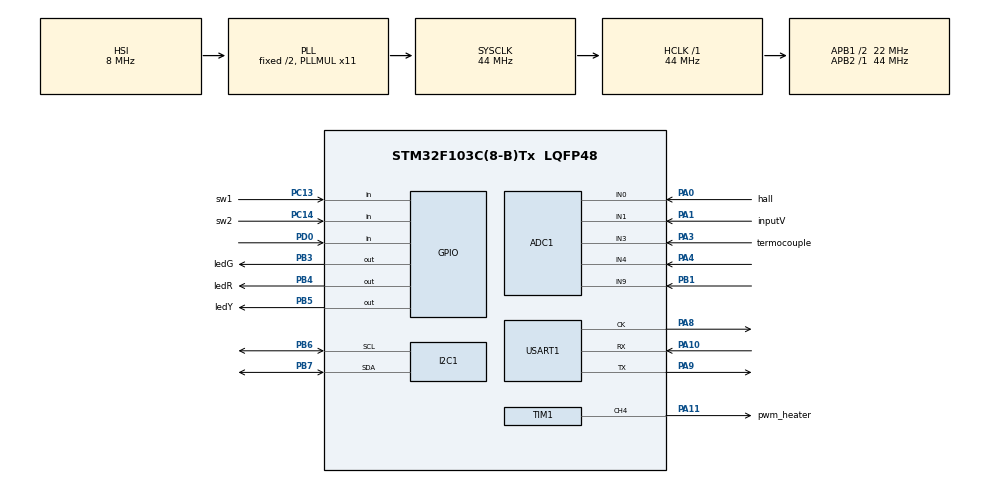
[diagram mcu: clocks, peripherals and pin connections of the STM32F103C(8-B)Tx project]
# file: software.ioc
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ADC1.Channel-12\#ChannelRegularConversion=ADC_CHANNEL_0
ADC1.NbrOfConversionFlag=1
ADC1.Rank-12\#ChannelRegularConversion=1
ADC1.SamplingTime-12\#ChannelRegularConversion=ADC_SAMPLETIME_1CYCLE_5
ADC1.master=1
I2C1.I2C_Mode=I2C_Fast
Mcu.Family=STM32F1
Mcu.Name=STM32F103C(8-B)Tx
Mcu.Package=LQFP48
NVIC.PriorityGroup=NVIC_PRIORITYGROUP_4
PA0-WKUP.GPIO_Label=hall
PA0-WKUP.Signal=ADCx_IN0
PA1.GPIO_Label=inputV
PA1.Signal=ADCx_IN1
PA10.Mode=Synchronous
PA10.Signal=USART1_RX
PA11.GPIO_Label=pwm_heater
PA11.GPIO_Speed=GPIO_SPEED_FREQ_MEDIUM
PA11.Signal=S_TIM1_CH4
PA13.Mode=Serial_Wire
PA13.Signal=SYS_JTMS-SWDIO
PA14.Mode=Serial_Wire
PA14.Signal=SYS_JTCK-SWCLK
PA3.GPIO_Label=termocouple
PA3.Signal=ADCx_IN3
PA4.Signal=ADCx_IN4
PA8.Mode=Synchronous
PA8.Signal=USART1_CK
PA9.Mode=Synchronous
PA9.Signal=USART1_TX
PB1.Signal=ADCx_IN9
PB3.GPIO_Label=ledG
PB3.GPIO_PuPd=GPIO_NOPULL
PB3.Signal=GPIO_Output
PB4.GPIO_Label=ledR
PB4.Signal=GPIO_Output
PB5.GPIO_Label=ledY
PB5.Signal=GPIO_Output
PB6.Mode=I2C
PB6.Signal=I2C1_SCL
PB7.Mode=I2C
PB7.Signal=I2C1_SDA
PC13-TAMPER-RTC.GPIO_Label=sw1
PC13-TAMPER-RTC.GPIO_PuPd=GPIO_PULLUP
PC13-TAMPER-RTC.Signal=GPIO_Input
PC14-OSC32_IN.GPIO_Label=sw2
PC14-OSC32_IN.GPIO_PuPd=GPIO_PULLUP
PC14-OSC32_IN.Signal=GPIO_Input
PD0-OSC_IN.GPIO_Label=weller_connnected?
PD0-OSC_IN.Signal=GPIO_Input
ProjectManager.HeapSize=0x200
ProjectManager.StackSize=0x400
ProjectManager.TargetToolchain=STM32CubeIDE
RCC.ADCPresc=RCC_ADCPCLK2_DIV4
RCC.AHBFreq_Value=44000000
RCC.APB1CLKDivider=RCC_HCLK_DIV2
RCC.APB1Freq_Value=22000000
RCC.APB1TimFreq_Value=44000000
RCC.APB2Freq_Value=44000000
RCC.APB2TimFreq_Value=44000000
RCC.HCLKFreq_Value=44000000
RCC.PLLMUL=RCC_PLL_MUL11
RCC.SYSCLKFreq_VALUE=44000000
RCC.SYSCLKSource=RCC_SYSCLKSOURCE_PLLCLK
RCC.USBFreq_Value=44000000
SH.ADCx_IN0.0=ADC1_IN0,IN0
SH.ADCx_IN1.0=ADC1_IN1,IN1
SH.ADCx_IN3.0=ADC1_IN3,IN3
SH.ADCx_IN4.0=ADC1_IN4,IN4
SH.ADCx_IN9.0=ADC1_IN9,IN9
SH.S_TIM1_CH4.0=TIM1_CH4,PWM Generation4 CH4
TIM1.Channel-PWM\ Generation4\ CH4=TIM_CHANNEL_4
USART1.VirtualMode=VM_SYNC
VP_TIM1_VS_ClockSourceINT.Mode=Internal
board=custom

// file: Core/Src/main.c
/* USER CODE BEGIN Header */
/**
  ******************************************************************************
  * @file           : main.c
  * @brief          : Main program body
  ******************************************************************************
  * @attention
  *
  * <h2><center>&copy; Copyright (c) 2020 STMicroelectronics.
  * All rights reserved.</center></h2>
  *
  * This software component is licensed by ST under BSD 3-Clause license,
  * the "License"; You may not use this file except in compliance with the
  * License. You may obtain a copy of the License at:
  *                        opensource.org/licenses/BSD-3-Clause
  *
  ******************************************************************************
  */
/* USER CODE END Header */

#include "main.h"

/* USER CODE BEGIN Includes */
#include "fonts.h"
#include "ssd1306.h"
#include "test.h"
/* USER CODE END Includes */

ADC_HandleTypeDef hadc1;

I2C_HandleTypeDef hi2c1;

TIM_HandleTypeDef htim1;

USART_HandleTypeDef husart1;

void SystemClock_Config(void);
static void MX_GPIO_Init(void);
static void MX_I2C1_Init(void);
static void MX_ADC1_Init(void);
static void MX_TIM1_Init(void);
static void MX_USART1_Init(void);

int main(void)
{

  /* MCU Configuration--------------------------------------------------------*/

  /* Reset of all peripherals, Initializes the Flash interface and the Systick. */
  HAL_Init();

  /* Configure the system clock */
  SystemClock_Config();

  /* Initialize all configured peripherals */
  MX_GPIO_Init();
  MX_I2C1_Init();
  MX_ADC1_Init();
  MX_TIM1_Init();
  MX_USART1_Init();
  /* USER CODE BEGIN 2 */
  SSD1306_Init();

  HAL_GPIO_WritePin(GPIOB, GPIO_PIN_5,GPIO_PIN_RESET);
  HAL_GPIO_WritePin(GPIOB, GPIO_PIN_4,GPIO_PIN_RESET);
  HAL_GPIO_WritePin(GPIOB, GPIO_PIN_3,GPIO_PIN_RESET);
  HAL_Delay(1000);
  HAL_GPIO_WritePin(GPIOB, GPIO_PIN_4,GPIO_PIN_SET);

  TestLines(1);
  /* USER CODE END 2 */

  /* Infinite loop */
  /* USER CODE BEGIN WHILE */
  while (1)
  {

	  if ( 0 == HAL_GPIO_ReadPin(GPIOC, sw1_Pin)){
	      HAL_GPIO_WritePin(GPIOB, GPIO_PIN_3,GPIO_PIN_SET);
	  }
	  else if( 1 == HAL_GPIO_ReadPin(GPIOC, sw1_Pin)) {
		  HAL_GPIO_WritePin(GPIOB, GPIO_PIN_3,GPIO_PIN_RESET);
	  }

	  if ( 0 == HAL_GPIO_ReadPin(GPIOC, sw2_Pin)){
	      HAL_GPIO_WritePin(GPIOB, GPIO_PIN_5,GPIO_PIN_SET);
	  }
	  else if( 1 == HAL_GPIO_ReadPin(GPIOC, sw2_Pin)) {
		  HAL_GPIO_WritePin(GPIOB, GPIO_PIN_5,GPIO_PIN_RESET);
	  }
    /* USER CODE END WHILE */

  }
}

void SystemClock_Config(void)
{
  RCC_OscInitTypeDef RCC_OscInitStruct = {0};
  RCC_ClkInitTypeDef RCC_ClkInitStruct = {0};
  RCC_PeriphCLKInitTypeDef PeriphClkInit = {0};

  /** Initializes the CPU, AHB and APB busses clocks
  */
  RCC_OscInitStruct.OscillatorType = RCC_OSCILLATORTYPE_HSI;
  RCC_OscInitStruct.HSIState = RCC_HSI_ON;
  RCC_OscInitStruct.HSICalibrationValue = RCC_HSICALIBRATION_DEFAULT;
  RCC_OscInitStruct.PLL.PLLState = RCC_PLL_ON;
  RCC_OscInitStruct.PLL.PLLSource = RCC_PLLSOURCE_HSI_DIV2;
  RCC_OscInitStruct.PLL.PLLMUL = RCC_PLL_MUL11;
  if (HAL_RCC_OscConfig(&RCC_OscInitStruct) != HAL_OK)
  {
    Error_Handler();
  }
  /** Initializes the CPU, AHB and APB busses clocks
  */
  RCC_ClkInitStruct.ClockType = RCC_CLOCKTYPE_HCLK|RCC_CLOCKTYPE_SYSCLK
                              |RCC_CLOCKTYPE_PCLK1|RCC_CLOCKTYPE_PCLK2;
  RCC_ClkInitStruct.SYSCLKSource = RCC_SYSCLKSOURCE_PLLCLK;
  RCC_ClkInitStruct.AHBCLKDivider = RCC_SYSCLK_DIV1;
  RCC_ClkInitStruct.APB1CLKDivider = RCC_HCLK_DIV2;
  RCC_ClkInitStruct.APB2CLKDivider = RCC_HCLK_DIV1;

  if (HAL_RCC_ClockConfig(&RCC_ClkInitStruct, FLASH_LATENCY_1) != HAL_OK)
  {
    Error_Handler();
  }
  PeriphClkInit.PeriphClockSelection = RCC_PERIPHCLK_ADC;
  PeriphClkInit.AdcClockSelection = RCC_ADCPCLK2_DIV4;
  if (HAL_RCCEx_PeriphCLKConfig(&PeriphClkInit) != HAL_OK)
  {
    Error_Handler();
  }
}

static void MX_ADC1_Init(void)
{

  ADC_ChannelConfTypeDef sConfig = {0};

  /** Common config
  */
  hadc1.Instance = ADC1;
  hadc1.Init.ScanConvMode = ADC_SCAN_DISABLE;
  hadc1.Init.ContinuousConvMode = DISABLE;
  hadc1.Init.DiscontinuousConvMode = DISABLE;
  hadc1.Init.ExternalTrigConv = ADC_SOFTWARE_START;
  hadc1.Init.DataAlign = ADC_DATAALIGN_RIGHT;
  hadc1.Init.NbrOfConversion = 1;
  if (HAL_ADC_Init(&hadc1) != HAL_OK)
  {
    Error_Handler();
  }
  /** Configure Regular Channel
  */
  sConfig.Channel = ADC_CHANNEL_0;
  sConfig.Rank = ADC_REGULAR_RANK_1;
  sConfig.SamplingTime = ADC_SAMPLETIME_1CYCLE_5;
  if (HAL_ADC_ConfigChannel(&hadc1, &sConfig) != HAL_OK)
  {
    Error_Handler();
  }

}

static void MX_I2C1_Init(void)
{

  hi2c1.Instance = I2C1;
  hi2c1.Init.ClockSpeed = 400000;
  hi2c1.Init.DutyCycle = I2C_DUTYCYCLE_2;
  hi2c1.Init.OwnAddress1 = 0;
  hi2c1.Init.AddressingMode = I2C_ADDRESSINGMODE_7BIT;
  hi2c1.Init.DualAddressMode = I2C_DUALADDRESS_DISABLE;
  hi2c1.Init.OwnAddress2 = 0;
  hi2c1.Init.GeneralCallMode = I2C_GENERALCALL_DISABLE;
  hi2c1.Init.NoStretchMode = I2C_NOSTRETCH_DISABLE;
  if (HAL_I2C_Init(&hi2c1) != HAL_OK)
  {
    Error_Handler();
  }

}

static void MX_TIM1_Init(void)
{

  TIM_ClockConfigTypeDef sClockSourceConfig = {0};
  TIM_MasterConfigTypeDef sMasterConfig = {0};
  TIM_OC_InitTypeDef sConfigOC = {0};
  TIM_BreakDeadTimeConfigTypeDef sBreakDeadTimeConfig = {0};

  htim1.Instance = TIM1;
  htim1.Init.Prescaler = 0;
  htim1.Init.CounterMode = TIM_COUNTERMODE_UP;
  htim1.Init.Period = 0;
  htim1.Init.ClockDivision = TIM_CLOCKDIVISION_DIV1;
  htim1.Init.RepetitionCounter = 0;
  htim1.Init.AutoReloadPreload = TIM_AUTORELOAD_PRELOAD_DISABLE;
  if (HAL_TIM_Base_Init(&htim1) != HAL_OK)
  {
    Error_Handler();
  }
  sClockSourceConfig.ClockSource = TIM_CLOCKSOURCE_INTERNAL;
  if (HAL_TIM_ConfigClockSource(&htim1, &sClockSourceConfig) != HAL_OK)
  {
    Error_Handler();
  }
  if (HAL_TIM_PWM_Init(&htim1) != HAL_OK)
  {
    Error_Handler();
  }
  sMasterConfig.MasterOutputTrigger = TIM_TRGO_RESET;
  sMasterConfig.MasterSlaveMode = TIM_MASTERSLAVEMODE_DISABLE;
  if (HAL_TIMEx_MasterConfigSynchronization(&htim1, &sMasterConfig) != HAL_OK)
  {
    Error_Handler();
  }
  sConfigOC.OCMode = TIM_OCMODE_PWM1;
  sConfigOC.Pulse = 0;
  sConfigOC.OCPolarity = TIM_OCPOLARITY_HIGH;
  sConfigOC.OCFastMode = TIM_OCFAST_DISABLE;
  sConfigOC.OCIdleState = TIM_OCIDLESTATE_RESET;
  sConfigOC.OCNIdleState = TIM_OCNIDLESTATE_RESET;
  if (HAL_TIM_PWM_ConfigChannel(&htim1, &sConfigOC, TIM_CHANNEL_4) != HAL_OK)
  {
    Error_Handler();
  }
  sBreakDeadTimeConfig.OffStateRunMode = TIM_OSSR_DISABLE;
  sBreakDeadTimeConfig.OffStateIDLEMode = TIM_OSSI_DISABLE;
  sBreakDeadTimeConfig.LockLevel = TIM_LOCKLEVEL_OFF;
  sBreakDeadTimeConfig.DeadTime = 0;
  sBreakDeadTimeConfig.BreakState = TIM_BREAK_DISABLE;
  sBreakDeadTimeConfig.BreakPolarity = TIM_BREAKPOLARITY_HIGH;
  sBreakDeadTimeConfig.AutomaticOutput = TIM_AUTOMATICOUTPUT_DISABLE;
  if (HAL_TIMEx_ConfigBreakDeadTime(&htim1, &sBreakDeadTimeConfig) != HAL_OK)
  {
    Error_Handler();
  }
  HAL_TIM_MspPostInit(&htim1);

}

static void MX_USART1_Init(void)
{

  husart1.Instance = USART1;
  husart1.Init.BaudRate = 115200;
  husart1.Init.WordLength = USART_WORDLENGTH_8B;
  husart1.Init.StopBits = USART_STOPBITS_1;
  husart1.Init.Parity = USART_PARITY_NONE;
  husart1.Init.Mode = USART_MODE_TX_RX;
  husart1.Init.CLKPolarity = USART_POLARITY_LOW;
  husart1.Init.CLKPhase = USART_PHASE_1EDGE;
  husart1.Init.CLKLastBit = USART_LASTBIT_DISABLE;
  if (HAL_USART_Init(&husart1) != HAL_OK)
  {
    Error_Handler();
  }

}

static void MX_GPIO_Init(void)
{
  GPIO_InitTypeDef GPIO_InitStruct = {0};

  /* GPIO Ports Clock Enable */
  __HAL_RCC_GPIOC_CLK_ENABLE();
  __HAL_RCC_GPIOD_CLK_ENABLE();
  __HAL_RCC_GPIOA_CLK_ENABLE();
  __HAL_RCC_GPIOB_CLK_ENABLE();

  /*Configure GPIO pin Output Level */
  HAL_GPIO_WritePin(GPIOB, ledG_Pin|ledR_Pin|ledY_Pin, GPIO_PIN_RESET);

  /*Configure GPIO pins : sw1_Pin sw2_Pin */
  GPIO_InitStruct.Pin = sw1_Pin|sw2_Pin;
  GPIO_InitStruct.Mode = GPIO_MODE_INPUT;
  GPIO_InitStruct.Pull = GPIO_PULLUP;
  HAL_GPIO_Init(GPIOC, &GPIO_InitStruct);

  /*Configure GPIO pin : weller_connnected__Pin */
  GPIO_InitStruct.Pin = weller_connnected__Pin;
  GPIO_InitStruct.Mode = GPIO_MODE_INPUT;
  GPIO_InitStruct.Pull = GPIO_NOPULL;
  HAL_GPIO_Init(weller_connnected__GPIO_Port, &GPIO_InitStruct);

  /*Configure GPIO pins : ledG_Pin ledR_Pin ledY_Pin */
  GPIO_InitStruct.Pin = ledG_Pin|ledR_Pin|ledY_Pin;
  GPIO_InitStruct.Mode = GPIO_MODE_OUTPUT_PP;
  GPIO_InitStruct.Pull = GPIO_NOPULL;
  GPIO_InitStruct.Speed = GPIO_SPEED_FREQ_LOW;
  HAL_GPIO_Init(GPIOB, &GPIO_InitStruct);

  /*Configure peripheral I/O remapping */
  __HAL_AFIO_REMAP_PD01_ENABLE();

}

void Error_Handler(void)
{
}

/************************ (C) COPYRIGHT STMicroelectronics *****END OF FILE****/
